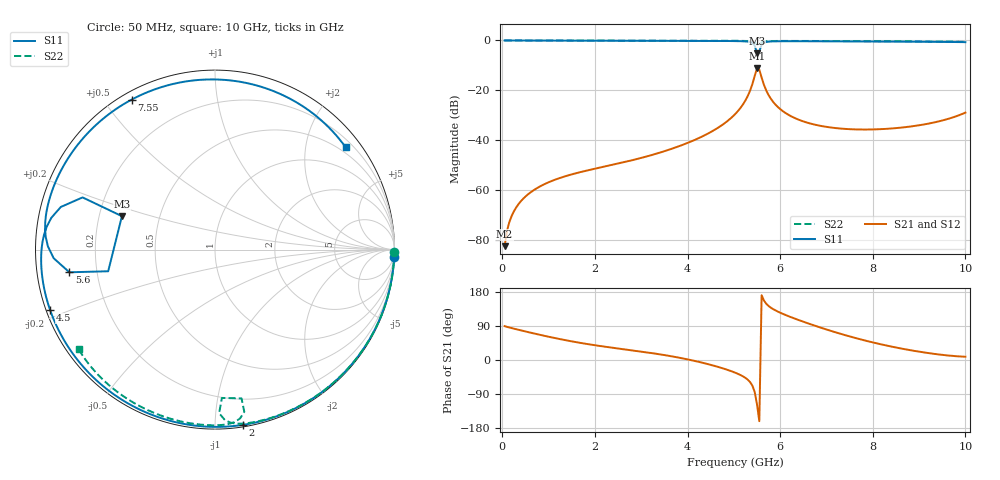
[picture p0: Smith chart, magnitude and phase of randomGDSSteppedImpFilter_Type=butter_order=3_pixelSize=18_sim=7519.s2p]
! freq	dB(S11)	phase(S11)	dB(S12)	phase(S12)
!  dB(S21)	phase(S21)	dB(S22)	phase(S22)
!S-par simulation data
#  GHz  S  DB  R 50
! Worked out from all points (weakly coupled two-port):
!   200 points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, 50 MHz to 10 GHz, reference 50 ohm
!   highest |S21| = -11.19 dB at 5.5 GHz (marker M1); lowest = -82.5 dB at 50 MHz (marker M2)
!   lowest |S11| = -5.2 dB at 5.5 GHz (marker M3), VSWR 3.45, Z = 14.9 + j7.96 ohm
!   |S11| at or under -10 dB: nowhere
!   |S22| runs from -1.6 to 0.0 dB; largest |S21 - S12| = 0
!   S11 on the Smith chart (normalised r, x): 50 MHz: 0, -52; 2 GHz: 0.01, -1.17; 4.5 GHz: 0.01, -0.18; 5.6 GHz: 0.10, -0.08; 7.55 GHz: 0.03, +0.59; 10 GHz: 0.36, +2.86
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0.05  -0.00 -2.2  -82.49 89.4  -82.49 89.4  -0.00 -0.8
0.2  -0.02 -8.7  -70.46 84.3  -70.46 84.3  -0.01 -3.3
0.5  -0.03 -21.5  -62.59 75.3  -62.59 75.3  -0.01 -8.2
1  -0.05 -42.3  -56.86 61.4  -56.86 61.4  -0.02 -16.2
1.75  -0.09 -71.8  -52.50 43.8  -52.50 43.8  -0.04 -28.2
2  -0.10 -81.0  -51.43 39.0  -51.43 39.0  -0.04 -32.2
2.65  -0.12 -103.6  -48.72 27.9  -48.72 27.9  -0.05 -42.3
3.4  -0.14 -127.4  -44.99 15.0  -44.99 15.0  -0.07 -53.8
4.5  -0.19 -159.9  -36.75 -12.8  -36.75 -12.8  -0.10 -70.2
5.05  -0.26 -176.9  -29.09 -34.5  -29.09 -34.5  -0.14 -78.7
5.35  -0.64 169.0  -20.16 -58.2  -20.16 -58.2  -0.29 -85.0
5.45  -2.01 158.5  -14.27 -84.1  -14.27 -84.1  -0.80 -88.6
5.5  -5.18 160.2  -11.19 -117.0  -11.19 -117.0  -1.65 -87.3
5.55  -4.33 -168.5  -11.71 -161.5  -11.71 -161.5  -1.49 -79.9
5.6  -1.71 -171.1  -14.89 170.9  -14.89 170.9  -0.74 -79.8
5.75  -0.48 175.7  -21.91 142.6  -21.91 142.6  -0.26 -84.4
5.95  -0.33 166.9  -26.68 127.7  -26.68 127.7  -0.19 -88.3
6.7  -0.33 143.9  -33.55 92.5  -33.55 92.5  -0.20 -99.2
7.55  -0.39 119.0  -35.62 60.5  -35.62 60.5  -0.26 -110.5
8.35  -0.45 94.4  -35.38 36.7  -35.38 36.7  -0.32 -121.0
9.15  -0.53 67.9  -33.53 19.2  -33.53 19.2  -0.39 -131.6
10  -0.68 38.1  -28.94 8.7  -28.94 8.7  -0.53 -143.8
